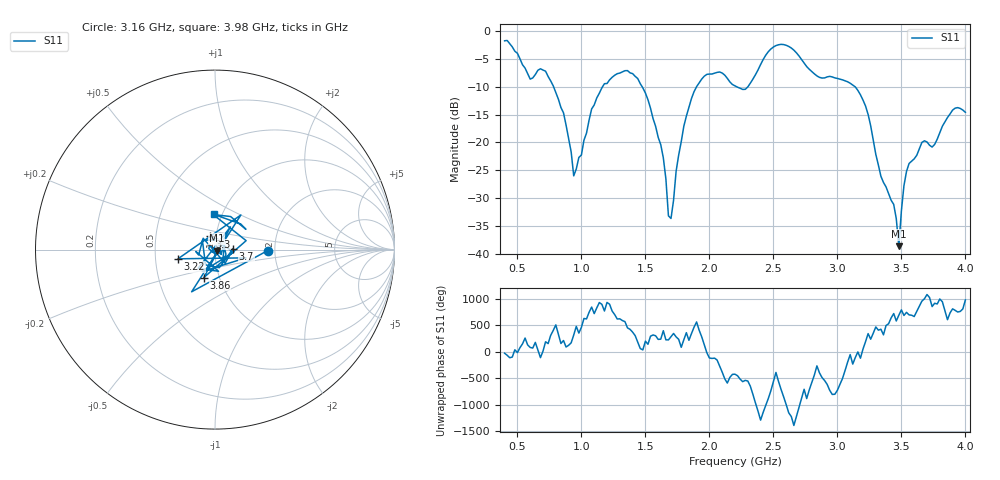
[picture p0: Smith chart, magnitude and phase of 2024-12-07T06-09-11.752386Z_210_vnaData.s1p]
!Created with skrf (http://scikit-rf.org).
# Hz S RI R 50.0
!freq ReS11 ImS11
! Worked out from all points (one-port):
!   181 points, 400 MHz to 4 GHz, reference 50 ohm
!   lowest |S11| = -38.7 dB at 3.48 GHz (marker M1), VSWR 1.02, Z = 51.1 - j0.533 ohm
!   |S11| at or under -10 dB: 783.2 MHz to 1.164 GHz (381.2 MHz wide, 39.1 % of centre); 1.475 GHz to 1.899 GHz (423.5 MHz wide, 25.1 % of centre); 3.14 GHz to end of sweep (the widest 3 of 4)
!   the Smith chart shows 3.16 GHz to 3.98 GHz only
!   S11 on the Smith chart (normalised r, x): 3.16 GHz: 1.83, -0.02; 3.22 GHz: 0.65, -0.07; 3.3 GHz: 0.94, +0.14; 3.7 GHz: 1.22, +0.01; 3.86 GHz: 0.84, -0.27; 3.98 GHz: 0.92, +0.37
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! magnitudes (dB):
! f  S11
! 400 MHz  -1.7
! 600 MHz  -8.6
! 720 MHz  -7.2
! 860 MHz  -14.7
! 940 MHz  -26.0
! 1.08 GHz  -14.0
! 1.3 GHz  -7.5
! 1.52 GHz  -12.3
! 1.64 GHz  -22.8
! 1.68 GHz  -33.2
! 1.7 GHz  -33.7
! 1.76 GHz  -22.3
! 1.94 GHz  -8.6
! 2.2 GHz  -9.8
! 2.5 GHz  -2.8
! 2.66 GHz  -3.4
! 3.1 GHz  -9.3
! 3.16 GHz  -10.6
! 3.22 GHz  -13.4
! 3.3 GHz  -22.1
! 3.44 GHz  -31.1
! 3.48 GHz  -38.7
! 3.52 GHz  -27.8
! 3.56 GHz  -23.8
! 3.7 GHz  -19.9
! 3.86 GHz  -15.5
! 3.98 GHz  -14.2
! 4 GHz  -14.6
